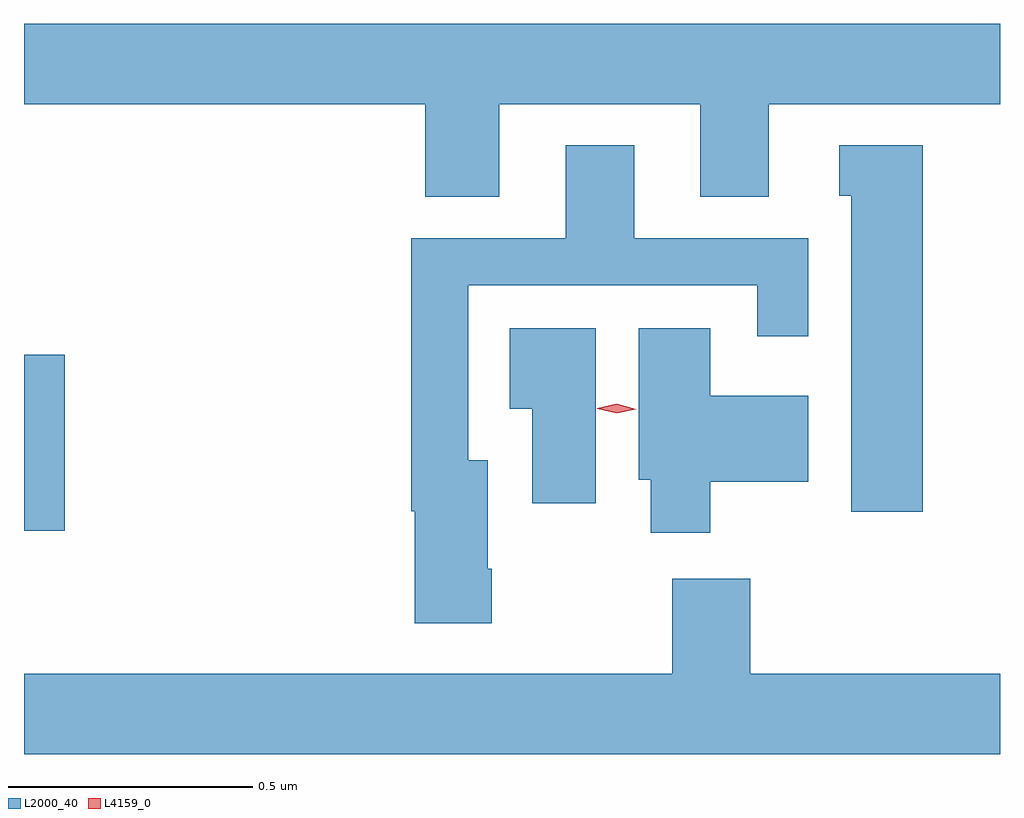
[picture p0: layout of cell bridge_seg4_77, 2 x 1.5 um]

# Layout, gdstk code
import gdstk
lib = gdstk.Library(unit=1e-6, precision=1e-09)
def R(c, l, rs):  # rectangles x0, y0, x1, y1
    for r in rs: c.add(gdstk.rectangle(r[:2], r[2:], *l))
def P(c, l, *ps):  # polygons
    for p in ps: c.add(gdstk.Polygon(p, *l))
L2000_40 = (2000, 40)
L4159_0 = (4159, 0)

bridge_seg4_77 = lib.new_cell('bridge_seg4_77')
R(bridge_seg4_77, L2000_40, [(472.013,818.59,472.097,818.95)])
P(bridge_seg4_77, L2000_40, [(472.987,819.464),(473.399,819.464),(473.399,819.274),(473.539,819.274),(473.539,819.464),(474.013,819.464),(474.013,819.628),(472.013,819.628),(472.013,819.464),(472.835,819.464),(472.835,819.274),(472.987,819.274)],
  [(472.971,818.512),(472.963,818.512),(472.963,818.734),(472.923,818.734),(472.923,819.093),(473.516,819.093),(473.516,818.988),(473.62,818.988),(473.62,819.189),(473.263,819.189),(473.263,819.379),(473.123,819.379),(473.123,819.189),(472.807,819.189),(472.807,818.63),(472.814,818.63),(472.814,818.4),(472.971,818.4)],
  [(473.855,819.379),(473.684,819.379),(473.684,819.276),(473.708,819.276),(473.708,818.628),(473.855,818.628)],
  [(473.185,819.004),(473.008,819.004),(473.008,818.84),(473.054,818.84),(473.054,818.646),(473.185,818.646)],
  [(473.419,818.69),(473.62,818.69),(473.62,818.866),(473.419,818.866),(473.419,819.004),(473.273,819.004),(473.273,818.694),(473.297,818.694),(473.297,818.585),(473.419,818.585)],
  [(474.013,818.296),(473.501,818.296),(473.501,818.491),(473.341,818.491),(473.341,818.296),(472.013,818.296),(472.013,818.132),(474.013,818.132)])
P(bridge_seg4_77, L4159_0, [(473.228,818.83),(473.188,818.84),(473.188,818.84),(473.188,818.841),(473.228,818.85),(473.268,818.839),(473.268,818.839),(473.268,818.839)])

lib.write_gds('bridge_seg4_77.gds')
